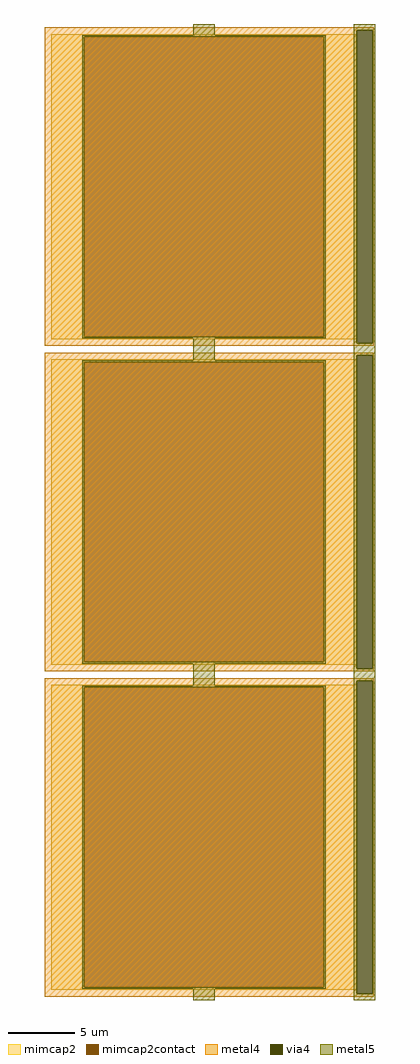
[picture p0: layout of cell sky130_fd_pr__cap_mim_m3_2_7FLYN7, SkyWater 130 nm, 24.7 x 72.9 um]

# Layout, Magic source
magic
tech sky130A
magscale 1 2
<< metal4 >>
rect -2459 7199 2459 7240
rect -2459 2521 2203 7199
rect 2439 2521 2459 7199
rect -2459 2480 2459 2521
rect -2459 2339 2459 2380
rect -2459 -2339 2203 2339
rect 2439 -2339 2459 2339
rect -2459 -2380 2459 -2339
rect -2459 -2521 2459 -2480
rect -2459 -7199 2203 -2521
rect 2439 -7199 2459 -2521
rect -2459 -7240 2459 -7199
<< via4 >>
rect 2203 2521 2439 7199
rect 2203 -2339 2439 2339
rect 2203 -7199 2439 -2521
<< mimcap2 >>
rect -2359 7100 2201 7140
rect -2359 2620 -1871 7100
rect 1713 2620 2201 7100
rect -2359 2580 2201 2620
rect -2359 2240 2201 2280
rect -2359 -2240 -1871 2240
rect 1713 -2240 2201 2240
rect -2359 -2280 2201 -2240
rect -2359 -2620 2201 -2580
rect -2359 -7100 -1871 -2620
rect 1713 -7100 2201 -2620
rect -2359 -7140 2201 -7100
<< mimcap2contact >>
rect -1871 2620 1713 7100
rect -1871 -2240 1713 2240
rect -1871 -7100 1713 -2620
<< metal5 >>
rect -239 7124 81 7290
rect 2161 7199 2481 7290
rect -1895 7100 1737 7124
rect -1895 2620 -1871 7100
rect 1713 2620 1737 7100
rect -1895 2596 1737 2620
rect -239 2264 81 2596
rect 2161 2521 2203 7199
rect 2439 2521 2481 7199
rect 2161 2339 2481 2521
rect -1895 2240 1737 2264
rect -1895 -2240 -1871 2240
rect 1713 -2240 1737 2240
rect -1895 -2264 1737 -2240
rect -239 -2596 81 -2264
rect 2161 -2339 2203 2339
rect 2439 -2339 2481 2339
rect 2161 -2521 2481 -2339
rect -1895 -2620 1737 -2596
rect -1895 -7100 -1871 -2620
rect 1713 -7100 1737 -2620
rect -1895 -7124 1737 -7100
rect -239 -7290 81 -7124
rect 2161 -7199 2203 -2521
rect 2439 -7199 2481 -2521
rect 2161 -7290 2481 -7199
<< properties >>
string gencell sky130_fd_pr__cap_mim_m3_2
string FIXED_BBOX -2459 2480 2301 7240
string parameters w 22.8 l 22.8 val 1.057k carea 2.00 cperi 0.19 nx 1 ny 3 dummy 0 square 0 lmin 2.00 wmin 2.00 lmax 30.0 wmax 30.0 dc 0 bconnect 1 tconnect 1 ccov 80
string library sky130
<< end >>
